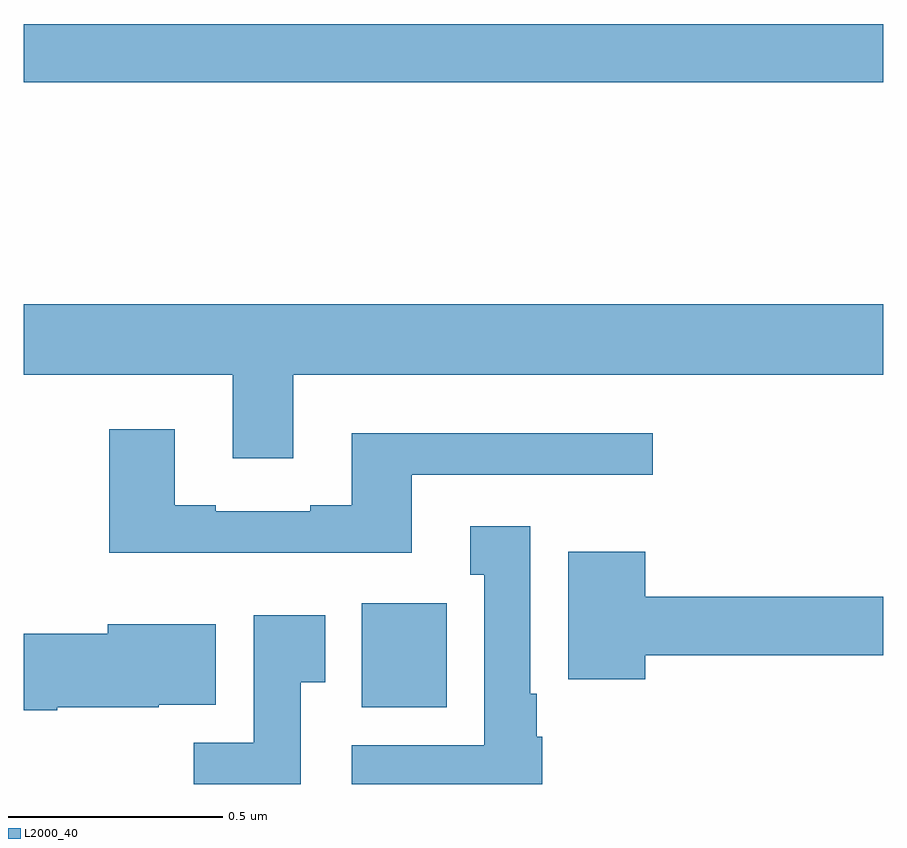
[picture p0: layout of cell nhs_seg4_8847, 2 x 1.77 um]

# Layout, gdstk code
import gdstk
lib = gdstk.Library(unit=1e-6, precision=1e-09)
def R(c, l, rs):  # rectangles x0, y0, x1, y1
    for r in rs: c.add(gdstk.rectangle(r[:2], r[2:], *l))
def P(c, l, *ps):  # polygons
    for p in ps: c.add(gdstk.Polygon(p, *l))
L2000_40 = (2000, 40)

nhs_seg4_8847 = lib.new_cell('nhs_seg4_8847')
R(nhs_seg4_8847, L2000_40, [(220.787,764.078,220.984,764.32), (220,765.532,222,765.668)])
P(nhs_seg4_8847, L2000_40, [(220.627,764.852),(222,764.852),(222,765.016),(220,765.016),(220,764.852),(220.487,764.852),(220.487,764.658),(220.627,764.658)],
  [(220.903,764.619),(221.464,764.619),(221.464,764.716),(220.763,764.716),(220.763,764.548),(220.667,764.548),(220.667,764.535),(220.447,764.535),(220.447,764.548),(220.351,764.548),(220.351,764.725),(220.199,764.725),(220.199,764.438),(220.903,764.438)],
  [(221.206,764.01),(221.194,764.01),(221.194,764.11),(221.179,764.11),(221.179,764.5),(221.039,764.5),(221.039,764.387),(221.072,764.387),(221.072,763.99),(220.763,763.99),(220.763,763.9),(221.206,763.9)],
  [(221.446,764.2),(222,764.2),(222,764.336),(221.446,764.336),(221.446,764.44),(221.267,764.44),(221.267,764.144),(221.446,764.144)],
  [(220.645,764.137),(220.702,764.137),(220.702,764.293),(220.535,764.293),(220.535,763.996),(220.396,763.996),(220.396,763.9),(220.645,763.9)],
  [(220.078,764.078),(220.314,764.078),(220.314,764.084),(220.447,764.084),(220.447,764.272),(220.196,764.272),(220.196,764.249),(220,764.249),(220,764.071),(220.078,764.071)])

lib.write_gds('nhs_seg4_8847.gds')
